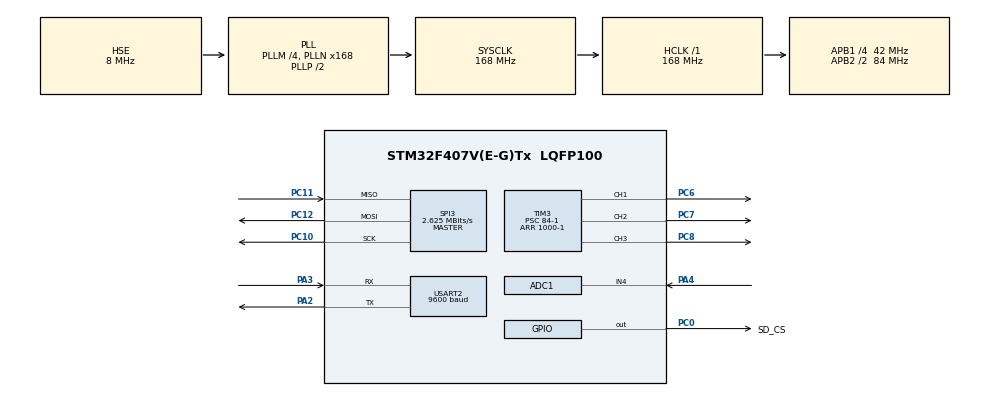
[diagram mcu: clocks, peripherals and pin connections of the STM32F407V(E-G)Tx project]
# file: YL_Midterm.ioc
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ADC1.Channel-8\#ChannelRegularConversion=ADC_CHANNEL_4
ADC1.ClockPrescaler=ADC_CLOCK_SYNC_PCLK_DIV8
ADC1.ContinuousConvMode=DISABLE
ADC1.DMAContinuousRequests=DISABLE
ADC1.ExternalTrigConv=ADC_EXTERNALTRIGCONV_T2_TRGO
ADC1.InjNumberOfConversion=0
ADC1.NbrOfConversion=1
ADC1.NbrOfConversionFlag=1
ADC1.Rank-8\#ChannelRegularConversion=1
ADC1.SamplingTime-8\#ChannelRegularConversion=ADC_SAMPLETIME_3CYCLES
ADC1.ScanConvMode=DISABLE
ADC1.master=1
FATFS._MAX_SS=4096
FATFS._MIN_SS=512
FATFS._USE_LFN=1
Mcu.Family=STM32F4
Mcu.Name=STM32F407V(E-G)Tx
Mcu.Package=LQFP100
NVIC.ADC_IRQn=true\:0\:0\:false\:false\:true\:true\:true\:true
NVIC.PriorityGroup=NVIC_PRIORITYGROUP_0
NVIC.USART2_IRQn=true\:0\:0\:false\:false\:true\:true\:true\:true
PA13.Mode=Serial_Wire
PA13.Signal=SYS_JTMS-SWDIO
PA14.Mode=Serial_Wire
PA14.Signal=SYS_JTCK-SWCLK
PA2.Mode=Asynchronous
PA2.Signal=USART2_TX
PA3.Mode=Asynchronous
PA3.Signal=USART2_RX
PA4.Signal=ADCx_IN4
PC0.GPIO_Label=SD_CS
PC0.PinState=GPIO_PIN_SET
PC0.Signal=GPIO_Output
PC10.Mode=Full_Duplex_Master
PC10.Signal=SPI3_SCK
PC11.Mode=Full_Duplex_Master
PC11.Signal=SPI3_MISO
PC12.Mode=Full_Duplex_Master
PC12.Signal=SPI3_MOSI
PC6.Signal=S_TIM3_CH1
PC7.Signal=S_TIM3_CH2
PC8.Signal=S_TIM3_CH3
PH0-OSC_IN.Mode=HSE-External-Oscillator
PH0-OSC_IN.Signal=RCC_OSC_IN
PH1-OSC_OUT.Mode=HSE-External-Oscillator
PH1-OSC_OUT.Signal=RCC_OSC_OUT
ProjectManager.HeapSize=0x200
ProjectManager.StackSize=0x400
ProjectManager.TargetToolchain=STM32CubeIDE
RCC.48MHZClocksFreq_Value=48000000
RCC.AHBFreq_Value=168000000
RCC.APB1CLKDivider=RCC_HCLK_DIV4
RCC.APB1Freq_Value=42000000
RCC.APB1TimFreq_Value=84000000
RCC.APB2CLKDivider=RCC_HCLK_DIV2
RCC.APB2Freq_Value=84000000
RCC.APB2TimFreq_Value=168000000
RCC.CortexFreq_Value=168000000
RCC.HCLKFreq_Value=168000000
RCC.HSE_VALUE=8000000
RCC.HSI_VALUE=16000000
RCC.PLLI2SN=96
RCC.PLLM=4
RCC.PLLN=168
RCC.PLLQ=7
RCC.PLLSourceVirtual=RCC_PLLSOURCE_HSE
RCC.RCC_RTC_Clock_Source=RCC_RTCCLKSOURCE_LSE
RCC.SYSCLKFreq_VALUE=168000000
RCC.SYSCLKSource=RCC_SYSCLKSOURCE_PLLCLK
RCC.VCOOutputFreq_Value=336000000
SH.ADCx_IN4.0=ADC1_IN4,IN4
SH.S_TIM3_CH1.0=TIM3_CH1,PWM Generation1 CH1
SH.S_TIM3_CH2.0=TIM3_CH2,PWM Generation2 CH2
SH.S_TIM3_CH3.0=TIM3_CH3,PWM Generation3 CH3
SPI3.BaudRatePrescaler=SPI_BAUDRATEPRESCALER_16
SPI3.CalculateBaudRate=2.625 MBits/s
SPI3.Direction=SPI_DIRECTION_2LINES
SPI3.Mode=SPI_MODE_MASTER
SPI3.VirtualType=VM_MASTER
TIM2.AutoReloadPreload=TIM_AUTORELOAD_PRELOAD_ENABLE
TIM2.Period=10000-1
TIM2.Prescaler=840-1
TIM2.TIM_MasterOutputTrigger=TIM_TRGO_UPDATE
TIM3.Channel-PWM\ Generation1\ CH1=TIM_CHANNEL_1
TIM3.Channel-PWM\ Generation2\ CH2=TIM_CHANNEL_2
TIM3.Channel-PWM\ Generation3\ CH3=TIM_CHANNEL_3
TIM3.Period=1000-1
TIM3.Prescaler=84-1
USART2.BaudRate=9600
USART2.VirtualMode=VM_ASYNC
VP_FATFS_VS_Generic.Mode=User_defined
VP_TIM2_VS_ClockSourceINT.Mode=Internal
VP_TIM3_VS_ClockSourceINT.Mode=Internal
board=STM32F407G-DISC1

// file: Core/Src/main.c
/* USER CODE BEGIN Header */
/**
  ******************************************************************************
  * @file           : main.c
  * @brief          : Main program body
  ******************************************************************************
  * @attention
  *
  * Copyright (c) 2024 STMicroelectronics.
  * All rights reserved.
  *
  * This software is licensed under terms that can be found in the LICENSE file
  * in the root directory of this software component.
  * If no LICENSE file comes with this software, it is provided AS-IS.
  *
  ******************************************************************************
  */
/* USER CODE END Header */
#include "main.h"
#include "fatfs.h"

/* USER CODE BEGIN Includes */
#include "myDS1302Lib.h"
#include "RGB.h"
#include "string.h"
#include "fatfs_sd.h"
#include "stdio.h"
#include "stdbool.h"
#include "stdlib.h"

/* USER CODE END Includes */

/* USER CODE BEGIN PTD */
#define BUFFER_SIZE			10
#define SD_KEYWORD			"kayıt"
#define DISCO_ON_KEYWORD	"disco on"
#define DISCO_OFF_KEYWORD	"disco off"
/* USER CODE END PTD */

ADC_HandleTypeDef hadc1;

SPI_HandleTypeDef hspi3;

TIM_HandleTypeDef htim2;
TIM_HandleTypeDef htim3;

UART_HandleTypeDef huart2;

/* USER CODE BEGIN PV */

// UART Interrupt İslemi Global Degiskenleri
uint8_t rxBuffer;
uint8_t receivedData[BUFFER_SIZE]; // Gelen veriyi saklamak için
uint8_t dataIndex = 0;

// MicroSD Global Kart Degiskenleri
SPI_HandleTypeDef hspi3;
char TxBuffer[250];
bool sdRecFlag = false;

// RTC bilgisini SD karta yazmak icin global degiskenler
FATFS FatFs;
FIL Fil;
FRESULT FR_Status;

// rbg led state machine global degiskenleri
uint8_t rgb_state = 0;
uint32_t rgb_first_time = 0;

// RGB led global degiskenleri
RGB_LED my_rgb_led;
TIM_HandleTypeDef htim3;
uint16_t redTone = 0;
volatile bool discoFlag = false;

// ADC okuma degiskeni
volatile uint32_t adcBuf;

/* USER CODE END PV */

void SystemClock_Config(void);
static void MX_GPIO_Init(void);
static void MX_USART2_UART_Init(void);
static void MX_TIM2_Init(void);
static void MX_TIM3_Init(void);
static void MX_ADC1_Init(void);
static void MX_SPI3_Init(void);
/* USER CODE BEGIN PFP */
static void sd_card_test(void);
static void write_adc_to_sd(void);
static void sd_card_adc_logger(void);
static uint8_t map(uint16_t,uint16_t,uint16_t,uint8_t,uint8_t);
static void rgb_disco_mode(void);
/* USER CODE END PFP */

/* USER CODE BEGIN 0 */

static void uart_print(char* str)
{
    HAL_UART_Transmit(&huart2, (uint8_t *) str, strlen(str), 100);
}

// Bu fonksiyon islemcinin UID'sini gormek icin
static void print_UID(void)
{
	char uidBuf[50];
	uint32_t uid[3];

	uid[0] = *(uint32_t*)0x1FFF7A10;
	uid[1] = *(uint32_t*)0x1FFF7A14;
	uid[2] = *(uint32_t*)0x1FFF7A18;

	sprintf(uidBuf, "Unique ID: 0x%08lX-%08lX-%08lX",
	            uid[0],
	            uid[1],
	            uid[2]);

	uart_print(uidBuf);
}

uint8_t map(uint16_t value, uint16_t in_min, uint16_t in_max, uint8_t out_min, uint8_t out_max)
{
    return (uint8_t)((value - in_min) * (out_max - out_min) / (in_max - in_min) + out_min);
}

static void rgb_disco_mode(void)
{
	  switch(rgb_state)
	  {
		  case 0:  // Başlangıç durumu
		  {
			  rgb_state = 1;
			  rgb_first_time = HAL_GetTick();
		  } break;

		  case 1:  // Kırmızı
		  {
			  if (HAL_GetTick() - rgb_first_time > 100)
			  {
				  RGB_LED_Set_Color(&my_rgb_led, 255, 0, 0);
				  rgb_first_time = HAL_GetTick();
				  rgb_state = 2;
			  }
		  } break;

		  case 2:  // Yeşil
		  {
			  if (HAL_GetTick() - rgb_first_time > 100)
			  {
				  RGB_LED_Set_Color(&my_rgb_led, 0, 255, 0);
				  rgb_first_time = HAL_GetTick();
				  rgb_state = 3;
			  }
		  } break;

		  case 3:  // Mavi
		  {
			  if (HAL_GetTick() - rgb_first_time > 100)
			  {
				  RGB_LED_Set_Color(&my_rgb_led, 0, 0, 255);
				  rgb_first_time = HAL_GetTick();
				  rgb_state = 0;
			  }
		  } break;
	  }
}

/* USER CODE END 0 */

int main(void)
{

  /* MCU Configuration--------------------------------------------------------*/

  /* Reset of all peripherals, Initializes the Flash interface and the Systick. */
  HAL_Init();

  /* Configure the system clock */
  SystemClock_Config();

  /* Initialize all configured peripherals */
  MX_GPIO_Init();
  MX_USART2_UART_Init();
  MX_TIM2_Init();
  MX_FATFS_Init();
  MX_TIM3_Init();
  MX_ADC1_Init();
  MX_SPI3_Init();
  /* USER CODE BEGIN 2 */

  // Islemcinin UID'sini oku
  // print_UID();

  // 1 byte UART interrupt islemini baslat
  HAL_UART_Receive_IT(&huart2, &rxBuffer, 1);

  // RGB ledler icin gerekli PWM'leri baslat
  RGB_LED_Init(&my_rgb_led, &htim3, TIM_CHANNEL_1, TIM_CHANNEL_2, TIM_CHANNEL_3);	// timer3 ch1,ch2,ch3

  /* USER CODE END 2 */

  /* Infinite loop */
  /* USER CODE BEGIN WHILE */

  // ADC tetiklemek icin timer calistir
  HAL_TIM_Base_Start(&htim2);
  // ADC interrupt calistir
  HAL_ADC_Start_IT(&hadc1);

  while (1)
  {
	  if (sdRecFlag)
	  {
		  // Bu fonksiyon yaklasik 10 saniye calisir ve diger islemleri bloklar. RGB sonebilir
		  sd_card_adc_logger();
		  sd_card_test();
		  sdRecFlag = false;
	  }

	  if (discoFlag)
	  {
		  rgb_disco_mode();
	  }
	  else
	  {
		  // ADC degerini oku ve 0-255'e map et, kırmızının tonunu ayarla
		  redTone = map(adcBuf,0,4095,0,255);
		  RGB_LED_Set_Color(&my_rgb_led, 0, redTone, 0);
	  }

    /* USER CODE END WHILE */

  }
}

void SystemClock_Config(void)
{
  RCC_OscInitTypeDef RCC_OscInitStruct = {0};
  RCC_ClkInitTypeDef RCC_ClkInitStruct = {0};

  /** Configure the main internal regulator output voltage
  */
  __HAL_RCC_PWR_CLK_ENABLE();
  __HAL_PWR_VOLTAGESCALING_CONFIG(PWR_REGULATOR_VOLTAGE_SCALE1);

  /** Initializes the RCC Oscillators according to the specified parameters
  * in the RCC_OscInitTypeDef structure.
  */
  RCC_OscInitStruct.OscillatorType = RCC_OSCILLATORTYPE_HSE;
  RCC_OscInitStruct.HSEState = RCC_HSE_ON;
  RCC_OscInitStruct.PLL.PLLState = RCC_PLL_ON;
  RCC_OscInitStruct.PLL.PLLSource = RCC_PLLSOURCE_HSE;
  RCC_OscInitStruct.PLL.PLLM = 4;
  RCC_OscInitStruct.PLL.PLLN = 168;
  RCC_OscInitStruct.PLL.PLLP = RCC_PLLP_DIV2;
  RCC_OscInitStruct.PLL.PLLQ = 7;
  if (HAL_RCC_OscConfig(&RCC_OscInitStruct) != HAL_OK)
  {
    Error_Handler();
  }

  /** Initializes the CPU, AHB and APB buses clocks
  */
  RCC_ClkInitStruct.ClockType = RCC_CLOCKTYPE_HCLK|RCC_CLOCKTYPE_SYSCLK
                              |RCC_CLOCKTYPE_PCLK1|RCC_CLOCKTYPE_PCLK2;
  RCC_ClkInitStruct.SYSCLKSource = RCC_SYSCLKSOURCE_PLLCLK;
  RCC_ClkInitStruct.AHBCLKDivider = RCC_SYSCLK_DIV1;
  RCC_ClkInitStruct.APB1CLKDivider = RCC_HCLK_DIV4;
  RCC_ClkInitStruct.APB2CLKDivider = RCC_HCLK_DIV2;

  if (HAL_RCC_ClockConfig(&RCC_ClkInitStruct, FLASH_LATENCY_5) != HAL_OK)
  {
    Error_Handler();
  }
}

static void MX_ADC1_Init(void)
{

  ADC_ChannelConfTypeDef sConfig = {0};

  /** Configure the global features of the ADC (Clock, Resolution, Data Alignment and number of conversion)
  */
  hadc1.Instance = ADC1;
  hadc1.Init.ClockPrescaler = ADC_CLOCK_SYNC_PCLK_DIV8;
  hadc1.Init.Resolution = ADC_RESOLUTION_12B;
  hadc1.Init.ScanConvMode = DISABLE;
  hadc1.Init.ContinuousConvMode = DISABLE;
  hadc1.Init.DiscontinuousConvMode = DISABLE;
  hadc1.Init.ExternalTrigConvEdge = ADC_EXTERNALTRIGCONVEDGE_RISING;
  hadc1.Init.ExternalTrigConv = ADC_EXTERNALTRIGCONV_T2_TRGO;
  hadc1.Init.DataAlign = ADC_DATAALIGN_RIGHT;
  hadc1.Init.NbrOfConversion = 1;
  hadc1.Init.DMAContinuousRequests = DISABLE;
  hadc1.Init.EOCSelection = ADC_EOC_SINGLE_CONV;
  if (HAL_ADC_Init(&hadc1) != HAL_OK)
  {
    Error_Handler();
  }

  /** Configure for the selected ADC regular channel its corresponding rank in the sequencer and its sample time.
  */
  sConfig.Channel = ADC_CHANNEL_4;
  sConfig.Rank = 1;
  sConfig.SamplingTime = ADC_SAMPLETIME_3CYCLES;
  if (HAL_ADC_ConfigChannel(&hadc1, &sConfig) != HAL_OK)
  {
    Error_Handler();
  }

}

static void MX_SPI3_Init(void)
{

  /* SPI3 parameter configuration*/
  hspi3.Instance = SPI3;
  hspi3.Init.Mode = SPI_MODE_MASTER;
  hspi3.Init.Direction = SPI_DIRECTION_2LINES;
  hspi3.Init.DataSize = SPI_DATASIZE_8BIT;
  hspi3.Init.CLKPolarity = SPI_POLARITY_LOW;
  hspi3.Init.CLKPhase = SPI_PHASE_1EDGE;
  hspi3.Init.NSS = SPI_NSS_SOFT;
  hspi3.Init.BaudRatePrescaler = SPI_BAUDRATEPRESCALER_16;
  hspi3.Init.FirstBit = SPI_FIRSTBIT_MSB;
  hspi3.Init.TIMode = SPI_TIMODE_DISABLE;
  hspi3.Init.CRCCalculation = SPI_CRCCALCULATION_DISABLE;
  hspi3.Init.CRCPolynomial = 10;
  if (HAL_SPI_Init(&hspi3) != HAL_OK)
  {
    Error_Handler();
  }

}

static void MX_TIM2_Init(void)
{

  TIM_ClockConfigTypeDef sClockSourceConfig = {0};
  TIM_MasterConfigTypeDef sMasterConfig = {0};

  htim2.Instance = TIM2;
  htim2.Init.Prescaler = 840-1;
  htim2.Init.CounterMode = TIM_COUNTERMODE_UP;
  htim2.Init.Period = 10000-1;
  htim2.Init.ClockDivision = TIM_CLOCKDIVISION_DIV1;
  htim2.Init.AutoReloadPreload = TIM_AUTORELOAD_PRELOAD_ENABLE;
  if (HAL_TIM_Base_Init(&htim2) != HAL_OK)
  {
    Error_Handler();
  }
  sClockSourceConfig.ClockSource = TIM_CLOCKSOURCE_INTERNAL;
  if (HAL_TIM_ConfigClockSource(&htim2, &sClockSourceConfig) != HAL_OK)
  {
    Error_Handler();
  }
  sMasterConfig.MasterOutputTrigger = TIM_TRGO_UPDATE;
  sMasterConfig.MasterSlaveMode = TIM_MASTERSLAVEMODE_DISABLE;
  if (HAL_TIMEx_MasterConfigSynchronization(&htim2, &sMasterConfig) != HAL_OK)
  {
    Error_Handler();
  }

}

static void MX_TIM3_Init(void)
{

  TIM_ClockConfigTypeDef sClockSourceConfig = {0};
  TIM_MasterConfigTypeDef sMasterConfig = {0};
  TIM_OC_InitTypeDef sConfigOC = {0};

  htim3.Instance = TIM3;
  htim3.Init.Prescaler = 84-1;
  htim3.Init.CounterMode = TIM_COUNTERMODE_UP;
  htim3.Init.Period = 1000-1;
  htim3.Init.ClockDivision = TIM_CLOCKDIVISION_DIV1;
  htim3.Init.AutoReloadPreload = TIM_AUTORELOAD_PRELOAD_DISABLE;
  if (HAL_TIM_Base_Init(&htim3) != HAL_OK)
  {
    Error_Handler();
  }
  sClockSourceConfig.ClockSource = TIM_CLOCKSOURCE_INTERNAL;
  if (HAL_TIM_ConfigClockSource(&htim3, &sClockSourceConfig) != HAL_OK)
  {
    Error_Handler();
  }
  if (HAL_TIM_PWM_Init(&htim3) != HAL_OK)
  {
    Error_Handler();
  }
  sMasterConfig.MasterOutputTrigger = TIM_TRGO_RESET;
  sMasterConfig.MasterSlaveMode = TIM_MASTERSLAVEMODE_DISABLE;
  if (HAL_TIMEx_MasterConfigSynchronization(&htim3, &sMasterConfig) != HAL_OK)
  {
    Error_Handler();
  }
  sConfigOC.OCMode = TIM_OCMODE_PWM1;
  sConfigOC.Pulse = 0;
  sConfigOC.OCPolarity = TIM_OCPOLARITY_HIGH;
  sConfigOC.OCFastMode = TIM_OCFAST_DISABLE;
  if (HAL_TIM_PWM_ConfigChannel(&htim3, &sConfigOC, TIM_CHANNEL_1) != HAL_OK)
  {
    Error_Handler();
  }
  if (HAL_TIM_PWM_ConfigChannel(&htim3, &sConfigOC, TIM_CHANNEL_2) != HAL_OK)
  {
    Error_Handler();
  }
  if (HAL_TIM_PWM_ConfigChannel(&htim3, &sConfigOC, TIM_CHANNEL_3) != HAL_OK)
  {
    Error_Handler();
  }
  HAL_TIM_MspPostInit(&htim3);

}

static void MX_USART2_UART_Init(void)
{

  huart2.Instance = USART2;
  huart2.Init.BaudRate = 9600;
  huart2.Init.WordLength = UART_WORDLENGTH_8B;
  huart2.Init.StopBits = UART_STOPBITS_1;
  huart2.Init.Parity = UART_PARITY_NONE;
  huart2.Init.Mode = UART_MODE_TX_RX;
  huart2.Init.HwFlowCtl = UART_HWCONTROL_NONE;
  huart2.Init.OverSampling = UART_OVERSAMPLING_16;
  if (HAL_UART_Init(&huart2) != HAL_OK)
  {
    Error_Handler();
  }

}

static void MX_GPIO_Init(void)
{
  GPIO_InitTypeDef GPIO_InitStruct = {0};

  /* GPIO Ports Clock Enable */
  __HAL_RCC_GPIOH_CLK_ENABLE();
  __HAL_RCC_GPIOC_CLK_ENABLE();
  __HAL_RCC_GPIOA_CLK_ENABLE();

  /*Configure GPIO pin Output Level */
  HAL_GPIO_WritePin(SD_CS_GPIO_Port, SD_CS_Pin, GPIO_PIN_SET);

  /*Configure GPIO pin : SD_CS_Pin */
  GPIO_InitStruct.Pin = SD_CS_Pin;
  GPIO_InitStruct.Mode = GPIO_MODE_OUTPUT_PP;
  GPIO_InitStruct.Pull = GPIO_NOPULL;
  GPIO_InitStruct.Speed = GPIO_SPEED_FREQ_LOW;
  HAL_GPIO_Init(SD_CS_GPIO_Port, &GPIO_InitStruct);

}

/* USER CODE BEGIN 4 */
void HAL_UART_RxCpltCallback(UART_HandleTypeDef *huart)
{
    if (huart->Instance == USART2)
    {
        // Gelen veriyi buffer'a ekle
        receivedData[dataIndex++] = rxBuffer;

        // Eger buffer dolduysa, basa sar
        if (dataIndex >= BUFFER_SIZE)
        {
        	dataIndex = 0; // Index degerini sıfırla
        }

        if (rxBuffer == '\r' || rxBuffer == '\n')
        {
        	receivedData[dataIndex - 1] = '\0';

        	if (strstr( (char*)receivedData , SD_KEYWORD) != NULL)
        	{
        		sdRecFlag = true;
        	}

        	if (strstr( (char*)receivedData, DISCO_ON_KEYWORD) != NULL)
        	{
        		discoFlag = true;
        	}

        	if (strstr( (char*)receivedData, DISCO_OFF_KEYWORD) != NULL)
        	{
        		discoFlag = false;
        	}

    	    // bufferi temizle
    	    memset(receivedData,0,BUFFER_SIZE);
    	    dataIndex = 0;

        }
        // Bir sonraki veriyi bekle
        HAL_UART_Receive_IT(&huart2, &rxBuffer, 1);
    }
}

static void sd_card_test(void)
{
  FATFS FatFs;
  FRESULT FR_Status;
  FATFS *FS_Ptr;
  DWORD FreeClusters;
  uint32_t totalSize, freeSpace;

  // SD Kart Yerlestir
  FR_Status = f_mount(&FatFs, "", 1);
  if (FR_Status != FR_OK)
  {
    sprintf(TxBuffer, "Hata! SD Kart yerleştirilemedi. Hata kodu: (%i)\r\n", FR_Status);
    uart_print(TxBuffer);
  }
  else
  {
	  sprintf(TxBuffer, "SD Kart Basariyla Yerlestirildi! \r\n\n");
	  uart_print(TxBuffer);
  }

  //SD Kart Hafıza Durumu kontrolü
  f_getfree("", &FreeClusters, &FS_Ptr);

  totalSize = (uint32_t)((FS_Ptr->n_fatent - 2) * FS_Ptr->csize * 0.5);
  freeSpace = (uint32_t)(FreeClusters * FS_Ptr->csize * 0.5);
  sprintf(TxBuffer, "Total SD Kart Boyutu: %lu Byte\r\n", totalSize);
  uart_print(TxBuffer);
  sprintf(TxBuffer, "Boş SD Kart Boyutu: %lu Byte\r\n\n", freeSpace);
  uart_print(TxBuffer);

  // Test tamamlandi
  FR_Status = f_mount(NULL, "", 0);

  if (FR_Status != FR_OK)
  {
      sprintf(TxBuffer, "Hata! SD Kart cikartilamadi, Hata kodu: (%i)\r\n", FR_Status);
      uart_print(TxBuffer);
  }
  else
  {
      sprintf(TxBuffer, "SD Kart basariyla kaldirildi! \r\n");
      uart_print(TxBuffer);
  }
}

static void write_adc_to_SD(void)
{
	char buffer[64];

	sprintf(buffer,"ADC degeri = %lu\r\n",adcBuf);

    FR_Status = f_open(&Fil, "ADCLog.txt", FA_OPEN_APPEND | FA_WRITE);

    if (FR_Status == FR_OK)
    {
        // Zaman bilgisini dosyaya yaz
        f_puts(buffer, &Fil);
        // Yazilan zaman bilgisini bluetooth uzerinden gonder
        uart_print(buffer);
        f_close(&Fil);
    }
    else
    {
        // Hata mesaji
    	uart_print("Hata! Zaman bilgisi yazilamadi...");
    }
}

static void sd_card_adc_logger(void)
{

	int counter = 0;
	const int maxWrites = 10;

	// SD kartı yerlestir
    FR_Status = f_mount(&FatFs, "", 1);
    if (FR_Status != FR_OK)
    {
        uart_print("Hata! SD Kart Yerlestirilemedi...");
        return;
    }

    // Durmadan yazma yapma, maxWrite kadar yaz ve SD karti kaldir
    while (counter < maxWrites)
    {
    	write_adc_to_SD(); // Zamanı SD karta yaz
        HAL_Delay(1000); // 1 saniye bekle
        counter++;       // Sayacı artir
    }

    // SD kartı kaldir
    f_mount(NULL, "", 0);
}

/* USER CODE END 4 */

void Error_Handler(void)
{
  __disable_irq();
  while (1)
  {
  }
}
